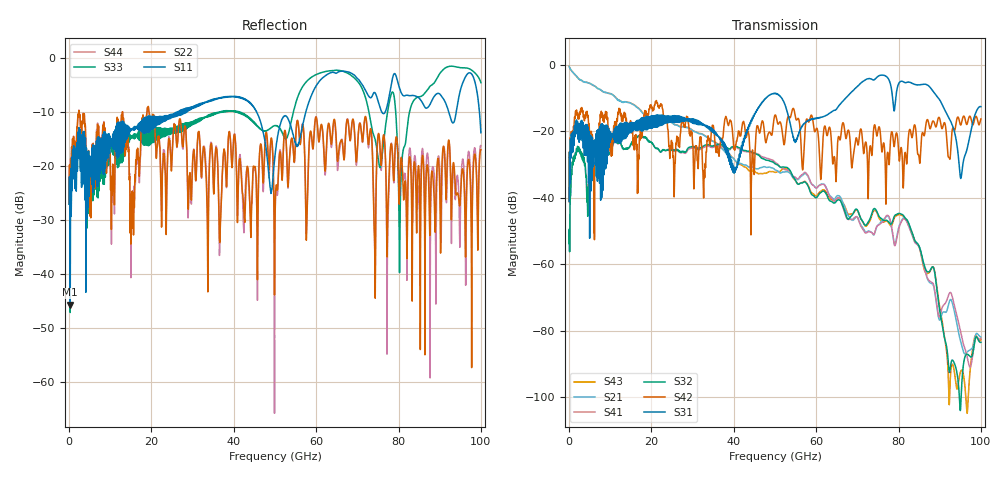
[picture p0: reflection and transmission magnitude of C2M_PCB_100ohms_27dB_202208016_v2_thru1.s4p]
! Info: Touchstone file created by Circ.  Input file=Intel_C2M_200G_11p5in_202208016_staggered.circ
# Hz S RI R 50
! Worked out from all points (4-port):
!   10000 points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, 10 MHz to 100 GHz, reference 50 ohm
!   strongest paths, dB at 10 MHz, 25.01 GHz, 50.01 GHz, 75.01 GHz, 100 GHz:
!     S31: -41.1, -15.6, -8.6, -3.4, -12.6
!     S42: -41.1, -24.4, -15.1, -19.7, -16.3
!     S32: -53.8, -25.5, -29.7, -44.9, -83.5
!     S41: -53.8, -25.7, -29.3, -48.3, -82.2
!     S21: -0.4, -17.4, -31.6, -48.2, -81.9
!     S43: -0.4, -17.4, -32.3, -45.3, -82.7
!   lowest |S11| = -45.6 dB at 280 MHz (marker M1), VSWR 1.01, Z = 50.1 + j0.515 ohm
!   |S11| at or under -10 dB: start of sweep to 26.17 GHz; 45.55 GHz to 57.48 GHz (11.93 GHz wide, 23.2 % of centre); 92.22 GHz to 94.01 GHz (1.786 GHz wide, 1.92 % of centre)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
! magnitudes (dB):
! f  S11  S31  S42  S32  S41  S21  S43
! 10 MHz  -26.9  -41.1  -41.1  -53.8  -53.8  -0.4  -0.4
! 280 MHz  -45.6  -23.4  -22.6  -40.0  -40.0  -1.1  -1.1
! 40.91 GHz  -7.2  -29.9  -21.7  -24.7  -25.0  -29.2  -29.5
! 78.53 GHz  -3.7  -9.6  -20.7  -47.2  -50.4  -50.5  -47.7
! 80.36 GHz  -5.8  -5.1  -27.1  -44.7  -48.1  -47.8  -45.1
! 95.17 GHz  -5.5  -34.1  -18.0  -100.9  -80.9  -83.6  -92.0
! 100 GHz  -13.8  -12.6  -16.3  -83.5  -82.2  -81.9  -82.7
